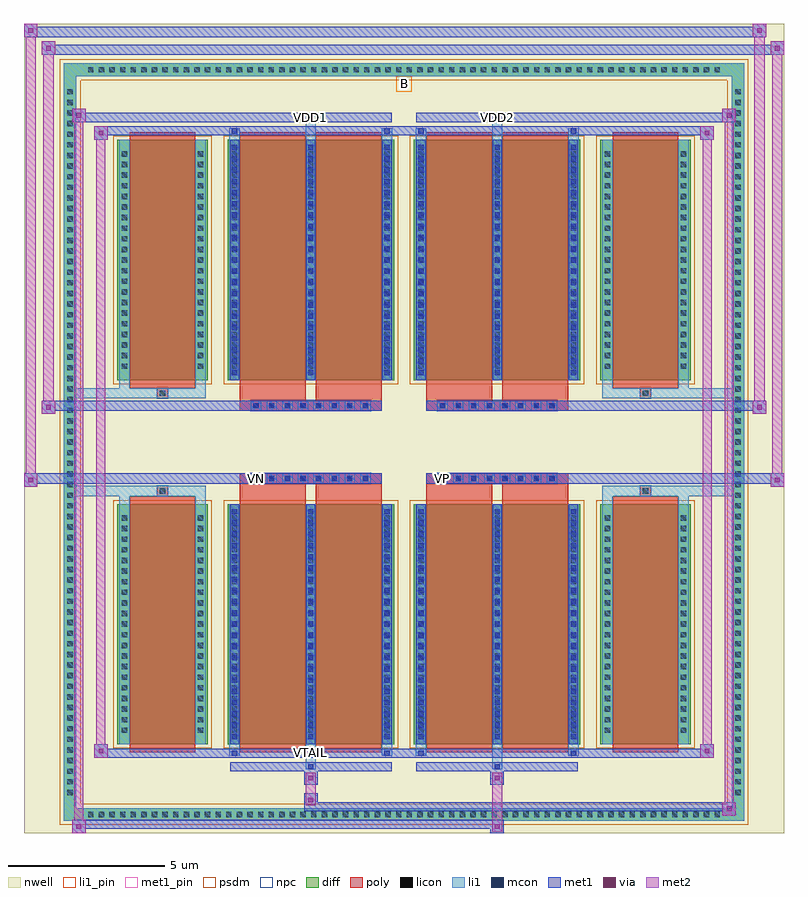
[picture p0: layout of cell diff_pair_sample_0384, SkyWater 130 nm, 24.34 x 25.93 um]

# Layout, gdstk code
import gdstk
lib = gdstk.Library(unit=1e-6, precision=5e-09)
def R(c, l, rs):  # rectangles x0, y0, x1, y1
    for r in rs: c.add(gdstk.rectangle(r[:2], r[2:], *l))
def A(c, l, x, y, w, h, nx, ny, dx, dy):  # array of equal rectangles
    R(c, l, [(x+i*dx, y+j*dy, x+i*dx+w, y+j*dy+h) for i in range(nx) for j in range(ny)])
def P(c, l, *ps):  # polygons
    for p in ps: c.add(gdstk.Polygon(p, *l))
nwell = (64, 20)
diff = (65, 20)
poly = (66, 20)
licon = (66, 44)
li1_pin = (67, 16)
li1 = (67, 20)
mcon = (67, 44)
met1_pin = (68, 16)
met1 = (68, 20)
via = (68, 44)
met2 = (69, 20)
psdm = (94, 20)
npc = (95, 20)

diff_pair_sample_0384 = lib.new_cell('diff_pair_sample_0384')
R(diff_pair_sample_0384, nwell, [(-12.17,-12.53,12.17,13.4), (-9.49,-10.72,-0.01,-0.8), (0.01,-10.72,9.49,-0.8), (-9.49,0.8,-0.01,10.72), (0.01,0.8,9.49,10.72)])
A(diff_pair_sample_0384, diff, -10.235, -12.13, 0.41, 0.41, 60, 2, 0.34, 23.85)
A(diff_pair_sample_0384, diff, -10.9, -11.425, 0.41, 0.41, 1, 67, 0, 0.34)
A(diff_pair_sample_0384, diff, 10.49, -11.425, 0.41, 0.41, 1, 67, 0, 0.34)
R(diff_pair_sample_0384, diff, [(-10.235,-12.13,10.235,-11.72), (-10.9,-11.425,-10.49,11.425), (10.49,-11.425,10.9,11.425), (-9.18,-9.675,-6.29,-1.985), (-5.65,-9.675,-0.32,-1.985), (0.32,-9.675,5.65,-1.985), (6.29,-9.675,9.18,-1.985), (-9.18,1.985,-6.29,9.675), (-5.65,1.985,-0.32,9.675), (0.32,1.985,5.65,9.675), (6.29,1.985,9.18,9.675), (-10.235,11.72,10.235,12.13)])
P(diff_pair_sample_0384, diff, [(10.9,12.13),(-10.9,12.13),(-10.9,-11.72),(-10.49,-11.72),(-10.49,11.72),(10.49,11.72),(10.49,-11.72),(-10.49,-11.72),(-10.9,-11.72),(-10.9,-12.13),(10.9,-12.13)])
A(diff_pair_sample_0384, poly, -4.9, -1.33, 0.33, 0.33, 8, 2, 0.5, 2.33)
A(diff_pair_sample_0384, poly, 1.07, -1.33, 0.33, 0.33, 8, 2, 0.5, 2.33)
R(diff_pair_sample_0384, poly, [(-8.79,-9.93,-6.68,-1.73), (-5.26,-9.93,-3.15,-1.73), (-2.82,-9.93,-0.71,-1.73), (0.71,-9.93,2.82,-1.73), (3.15,-9.93,5.26,-1.73), (6.68,-9.93,8.79,-1.73), (-7.9,-1.73,-7.57,-1.4), (-7.9,-1.73,-7.57,-1.4), (-5.26,-1.73,-3.15,-1.33), (-2.82,-1.73,-0.71,-1.33), (0.71,-1.73,2.82,-1.33), (3.15,-1.73,5.26,-1.33), (7.57,-1.73,7.9,-1.4), (7.57,-1.73,7.9,-1.4), (-5.26,-1.33,-0.71,-1), (0.71,-1.33,5.26,-1), (-5.26,1,-0.71,1.33), (0.71,1,5.26,1.33), (-5.26,1.33,-3.15,1.73), (-2.82,1.33,-0.71,1.73), (0.71,1.33,2.82,1.73), (3.15,1.33,5.26,1.73), (-7.9,1.4,-7.57,1.73), (-7.9,1.4,-7.57,1.73), (7.57,1.4,7.9,1.73), (7.57,1.4,7.9,1.73), (-8.79,1.73,-6.68,9.93), (-5.26,1.73,-3.15,9.93), (-2.82,1.73,-0.71,9.93), (0.71,1.73,2.82,9.93), (3.15,1.73,5.26,9.93), (6.68,1.73,8.79,9.93)])
A(diff_pair_sample_0384, licon, -10.115, -12.01, 0.17, 0.17, 60, 2, 0.34, 23.85)
A(diff_pair_sample_0384, licon, -10.78, -11.305, 0.17, 0.17, 1, 67, 0, 0.34)
A(diff_pair_sample_0384, licon, 10.61, -11.305, 0.17, 0.17, 1, 67, 0, 0.34)
A(diff_pair_sample_0384, licon, -9.04, -9.315, 0.17, 0.17, 1, 21, 0, 0.34)
A(diff_pair_sample_0384, licon, -6.6, -9.315, 0.17, 0.17, 1, 21, 0, 0.34)
A(diff_pair_sample_0384, licon, -5.51, -9.315, 0.17, 0.17, 3, 21, 2.44, 0.34)
A(diff_pair_sample_0384, licon, 0.46, -9.315, 0.17, 0.17, 3, 21, 2.44, 0.34)
A(diff_pair_sample_0384, licon, 6.43, -9.315, 0.17, 0.17, 1, 21, 0, 0.34)
A(diff_pair_sample_0384, licon, 8.87, -9.315, 0.17, 0.17, 1, 21, 0, 0.34)
A(diff_pair_sample_0384, licon, -4.82, -1.25, 0.17, 0.17, 8, 2, 0.5, 2.33)
A(diff_pair_sample_0384, licon, 1.15, -1.25, 0.17, 0.17, 8, 2, 0.5, 2.33)
A(diff_pair_sample_0384, licon, -9.04, 2.345, 0.17, 0.17, 1, 21, 0, 0.34)
A(diff_pair_sample_0384, licon, -6.6, 2.345, 0.17, 0.17, 1, 21, 0, 0.34)
A(diff_pair_sample_0384, licon, -5.51, 2.345, 0.17, 0.17, 3, 21, 2.44, 0.34)
A(diff_pair_sample_0384, licon, 0.46, 2.345, 0.17, 0.17, 3, 21, 2.44, 0.34)
A(diff_pair_sample_0384, licon, 6.43, 2.345, 0.17, 0.17, 1, 21, 0, 0.34)
A(diff_pair_sample_0384, licon, 8.87, 2.345, 0.17, 0.17, 1, 21, 0, 0.34)
R(diff_pair_sample_0384, licon, [(-7.82,-1.65,-7.65,-1.48), (7.65,-1.65,7.82,-1.48), (-7.82,1.48,-7.65,1.65), (7.65,1.48,7.82,1.65)])
R(diff_pair_sample_0384, li1_pin, [(-0.25,11.22,0.25,11.72)])
A(diff_pair_sample_0384, li1, -10.195, -12.09, 0.33, 0.33, 60, 2, 0.34, 23.85)
A(diff_pair_sample_0384, li1, -10.86, -11.385, 0.33, 0.33, 1, 67, 0, 0.34)
A(diff_pair_sample_0384, li1, 10.53, -11.385, 0.33, 0.33, 1, 67, 0, 0.34)
A(diff_pair_sample_0384, li1, -5.59, -9.675, 0.33, 7.69, 3, 2, 2.44, 11.66)
A(diff_pair_sample_0384, li1, 0.38, -9.675, 0.33, 7.69, 3, 2, 2.44, 11.66)
A(diff_pair_sample_0384, li1, -5.51, -9.515, 0.17, 0.17, 3, 21, 2.44, 0.36)
A(diff_pair_sample_0384, li1, -5.51, -9.515, 0.17, 7.37, 3, 2, 2.44, 11.66)
A(diff_pair_sample_0384, li1, 0.46, -9.515, 0.17, 0.17, 3, 21, 2.44, 0.36)
A(diff_pair_sample_0384, li1, 0.46, -9.515, 0.17, 7.37, 3, 2, 2.44, 11.66)
A(diff_pair_sample_0384, li1, -9.12, -9.395, 0.33, 0.33, 1, 21, 0, 0.34)
A(diff_pair_sample_0384, li1, -6.68, -9.395, 0.33, 0.33, 1, 21, 0, 0.34)
A(diff_pair_sample_0384, li1, -5.59, -9.395, 0.33, 0.33, 3, 21, 2.44, 0.34)
A(diff_pair_sample_0384, li1, 0.38, -9.395, 0.33, 0.33, 3, 21, 2.44, 0.34)
A(diff_pair_sample_0384, li1, 6.35, -9.395, 0.33, 0.33, 1, 21, 0, 0.34)
A(diff_pair_sample_0384, li1, 8.79, -9.395, 0.33, 0.33, 1, 21, 0, 0.34)
A(diff_pair_sample_0384, li1, -4.9, -1.33, 0.33, 0.33, 8, 2, 0.5, 2.33)
A(diff_pair_sample_0384, li1, 1.07, -1.33, 0.33, 0.33, 8, 2, 0.5, 2.33)
A(diff_pair_sample_0384, li1, -5.51, 2.145, 0.17, 0.17, 3, 21, 2.44, 0.36)
A(diff_pair_sample_0384, li1, 0.46, 2.145, 0.17, 0.17, 3, 21, 2.44, 0.36)
A(diff_pair_sample_0384, li1, -9.12, 2.265, 0.33, 0.33, 1, 21, 0, 0.34)
A(diff_pair_sample_0384, li1, -6.68, 2.265, 0.33, 0.33, 1, 21, 0, 0.34)
A(diff_pair_sample_0384, li1, -5.59, 2.265, 0.33, 0.33, 3, 21, 2.44, 0.34)
A(diff_pair_sample_0384, li1, 0.38, 2.265, 0.33, 0.33, 3, 21, 2.44, 0.34)
A(diff_pair_sample_0384, li1, 6.35, 2.265, 0.33, 0.33, 1, 21, 0, 0.34)
A(diff_pair_sample_0384, li1, 8.79, 2.265, 0.33, 0.33, 1, 21, 0, 0.34)
R(diff_pair_sample_0384, li1, [(-10.9,-12.13,-10.49,-11.72), (-10.9,-12.13,-10.49,-11.72), (-10.49,-12.13,10.49,-11.72), (10.49,-12.13,10.9,-11.72), (10.49,-12.13,10.9,-11.72), (-10.9,-11.72,-10.49,11.72), (10.49,-11.72,10.9,11.72), (-3.15,-10.48,-2.82,-9.675), (-3.07,-10.48,-2.9,-10.31), (2.82,-10.48,3.15,-9.675), (2.9,-10.48,3.07,-10.31), (-5.59,-10.05,-5.26,-9.675), (-5.51,-10.05,-5.34,-9.88), (-0.71,-10.05,-0.38,-9.675), (-0.63,-10.05,-0.46,-9.88), (0.38,-10.05,0.71,-9.675), (0.46,-10.05,0.63,-9.88), (5.26,-10.05,5.59,-9.675), (5.34,-10.05,5.51,-9.88), (-9.12,-9.675,-8.79,-1.985), (-6.68,-9.675,-6.35,-1.985), (6.35,-9.675,6.68,-1.985), (8.79,-9.675,9.12,-1.985), (-9.12,-1.985,-8.79,-1.4), (-6.68,-1.985,-6.35,-1.4), (6.35,-1.985,6.68,-1.4), (8.79,-1.985,9.12,-1.4), (-10.9,-1.73,-7.9,-1.4), (-9.12,-1.73,-7.9,-1.4), (-7.9,-1.73,-7.57,-1.4), (-7.57,-1.73,-6.35,-1.4), (6.35,-1.73,7.57,-1.4), (7.57,-1.73,7.9,-1.4), (7.57,-1.73,10.9,-1.4), (7.9,-1.73,9.12,-1.4), (-10.9,1.4,-7.9,1.73), (-9.12,1.4,-7.9,1.73), (-9.12,1.4,-8.79,1.985), (-7.9,1.4,-7.57,1.73), (-7.57,1.4,-6.35,1.73), (-6.68,1.4,-6.35,1.985), (6.35,1.4,7.57,1.73), (6.35,1.4,6.68,1.985), (7.57,1.4,7.9,1.73), (7.57,1.4,10.9,1.73), (7.9,1.4,9.12,1.73), (8.79,1.4,9.12,1.985), (-9.12,1.985,-8.79,9.675), (-6.68,1.985,-6.35,9.675), (6.35,1.985,6.68,9.675), (8.79,1.985,9.12,9.675), (-5.59,9.675,-5.26,10.05), (-3.15,9.675,-2.82,10.48), (-0.71,9.675,-0.38,10.05), (0.38,9.675,0.71,10.05), (2.82,9.675,3.15,10.48), (5.26,9.675,5.59,10.05), (-5.51,9.88,-5.34,10.05), (-0.63,9.88,-0.46,10.05), (0.46,9.88,0.63,10.05), (5.34,9.88,5.51,10.05), (-3.07,10.31,-2.9,10.48), (2.9,10.31,3.07,10.48), (-10.9,11.72,-10.49,12.13), (-10.9,11.72,-10.49,12.13), (-10.49,11.72,10.49,12.13), (10.49,11.72,10.9,12.13), (10.49,11.72,10.9,12.13)])
A(diff_pair_sample_0384, mcon, -5.51, -9.515, 0.17, 0.17, 3, 21, 2.44, 0.36)
A(diff_pair_sample_0384, mcon, 0.46, -9.515, 0.17, 0.17, 3, 21, 2.44, 0.36)
A(diff_pair_sample_0384, mcon, -4.82, -1.25, 0.17, 0.17, 8, 2, 0.5, 2.33)
A(diff_pair_sample_0384, mcon, 1.15, -1.25, 0.17, 0.17, 8, 2, 0.5, 2.33)
A(diff_pair_sample_0384, mcon, -5.51, 2.145, 0.17, 0.17, 3, 21, 2.44, 0.36)
A(diff_pair_sample_0384, mcon, 0.46, 2.145, 0.17, 0.17, 3, 21, 2.44, 0.36)
R(diff_pair_sample_0384, mcon, [(-3.07,-10.48,-2.9,-10.31), (2.9,-10.48,3.07,-10.31), (-5.51,-10.05,-5.34,-9.88), (-0.63,-10.05,-0.46,-9.88), (0.46,-10.05,0.63,-9.88), (5.34,-10.05,5.51,-9.88), (-5.51,9.88,-5.34,10.05), (-0.63,9.88,-0.46,10.05), (0.46,9.88,0.63,10.05), (5.34,9.88,5.51,10.05), (-3.07,10.31,-2.9,10.48), (2.9,10.31,3.07,10.48)])
R(diff_pair_sample_0384, met1_pin, [(-3.12,-10.09,-2.85,-9.82), (-4.87,-1.29,-4.6,-1.02), (1.1,-1.29,1.37,-1.02), (-3.12,10.27,-2.85,10.54), (2.85,10.27,3.12,10.54)])
A(diff_pair_sample_0384, met1, -5.57, -9.675, 0.29, 7.69, 3, 2, 2.44, 11.66)
A(diff_pair_sample_0384, met1, 0.4, -9.675, 0.29, 7.69, 3, 2, 2.44, 11.66)
A(diff_pair_sample_0384, met1, -5.57, -9.575, 0.29, 0.29, 3, 21, 2.44, 0.36)
A(diff_pair_sample_0384, met1, 0.4, -9.575, 0.29, 0.29, 3, 21, 2.44, 0.36)
A(diff_pair_sample_0384, met1, -4.88, -1.31, 0.29, 0.29, 8, 2, 0.5, 2.33)
A(diff_pair_sample_0384, met1, 1.09, -1.31, 0.29, 0.29, 8, 2, 0.5, 2.33)
A(diff_pair_sample_0384, met1, -5.57, 2.085, 0.29, 0.29, 3, 21, 2.44, 0.36)
A(diff_pair_sample_0384, met1, 0.4, 2.085, 0.29, 0.29, 3, 21, 2.44, 0.36)
R(diff_pair_sample_0384, met1, [(-10.63,-12.53,-10.2,-12.1), (2.77,-12.53,3.2,-12.1), (-10.63,-12.39,3.2,-12.1), (10.2,-11.96,10.63,-11.53), (-3.2,-11.82,10.63,-11.53), (-3.2,-11.68,-2.77,-11.25), (-3.2,-10.97,-2.77,-10.54), (2.77,-10.97,3.2,-10.54), (-5.57,-10.54,-0.4,-10.25), (-3.13,-10.54,-2.84,-10.25), (0.4,-10.54,5.57,-10.25), (2.84,-10.54,3.13,-10.25), (-9.92,-10.11,-9.49,-9.68), (-9.92,-10.11,-5.57,-9.82), (-5.57,-10.11,-5.28,-9.82), (-5.57,-10.11,-0.4,-9.82), (-0.69,-10.11,-0.4,-9.82), (-0.4,-10.11,0.4,-9.82), (0.4,-10.11,0.69,-9.82), (0.4,-10.11,5.57,-9.82), (5.28,-10.11,5.57,-9.82), (5.57,-10.11,9.92,-9.82), (9.49,-10.11,9.92,-9.68), (-12.17,-1.43,-11.74,-1), (11.74,-1.43,12.17,-1), (-12.17,-1.33,-0.71,-1), (-5.26,-1.33,-0.71,-1), (0.71,-1.33,5.26,-1), (0.71,-1.33,12.17,-1), (-11.6,0.9,-11.17,1.33), (11.17,0.9,11.6,1.33), (-11.6,1,-5.26,1.33), (-5.26,1,-0.71,1.33), (0.71,1,5.26,1.33), (5.26,1,11.6,1.33), (-9.92,9.68,-9.49,10.11), (9.49,9.68,9.92,10.11), (-9.92,9.82,-5.57,10.11), (-5.57,9.82,-5.28,10.11), (-5.57,9.82,-0.4,10.11), (-0.69,9.82,-0.4,10.11), (-0.4,9.82,0.4,10.11), (0.4,9.82,0.69,10.11), (0.4,9.82,5.57,10.11), (5.28,9.82,5.57,10.11), (5.57,9.82,9.92,10.11), (-10.63,10.25,-10.2,10.68), (-10.63,10.25,-5.57,10.54), (-5.57,10.25,-0.4,10.54), (-3.13,10.25,-2.84,10.54), (0.4,10.25,5.57,10.54), (2.84,10.25,3.13,10.54), (5.57,10.25,10.63,10.54), (10.2,10.25,10.63,10.68), (-11.6,12.4,-11.17,12.83), (-11.6,12.4,-9.49,12.73), (-9.49,12.4,9.49,12.73), (9.49,12.4,12.17,12.73), (11.74,12.4,12.17,12.83), (-12.17,12.97,-11.74,13.4), (-12.17,12.97,-9.49,13.3), (-9.49,12.97,9.49,13.3), (9.49,12.97,11.6,13.3), (11.17,12.97,11.6,13.4)])
R(diff_pair_sample_0384, via, [(-10.49,-12.39,-10.34,-12.24), (2.91,-12.39,3.06,-12.24), (10.34,-11.82,10.49,-11.67), (-3.06,-11.54,-2.91,-11.39), (-3.06,-10.83,-2.91,-10.68), (2.91,-10.83,3.06,-10.68), (-9.78,-9.97,-9.63,-9.82), (9.63,-9.97,9.78,-9.82), (-12.03,-1.29,-11.88,-1.14), (11.88,-1.29,12.03,-1.14), (-11.46,1.04,-11.31,1.19), (11.31,1.04,11.46,1.19), (-9.78,9.82,-9.63,9.97), (9.63,9.82,9.78,9.97), (-10.49,10.39,-10.34,10.54), (10.34,10.39,10.49,10.54), (-11.46,12.54,-11.31,12.69), (11.88,12.54,12.03,12.69), (-12.03,13.11,-11.88,13.26), (11.31,13.11,11.46,13.26)])
R(diff_pair_sample_0384, met2, [(-10.63,-12.53,-10.2,-12.1), (-10.56,-12.53,-10.27,10.68), (-10.27,-12.53,-10.2,-12.1), (-10.58,-12.48,-10.25,-12.15), (2.82,-12.48,3.15,-12.15), (2.82,-12.15,3.15,-10.92), (10.2,-11.96,10.63,-11.53), (10.27,-11.96,10.56,10.68), (10.56,-11.96,10.63,-11.53), (10.25,-11.91,10.58,-11.58), (-3.15,-11.63,-2.82,-11.3), (-3.15,-11.3,-2.82,-10.92), (-3.15,-10.92,-2.82,-10.59), (2.82,-10.92,3.15,-10.59), (-9.92,-10.11,-9.49,-9.68), (-9.85,-10.11,-9.56,10.11), (-9.56,-10.11,-9.49,-9.68), (9.49,-10.11,9.92,-9.68), (9.56,-10.11,9.85,10.11), (9.85,-10.11,9.92,-9.68), (-9.87,-10.06,-9.54,-9.73), (9.54,-10.06,9.87,-9.73), (-12.17,-1.43,-11.74,-1), (-12.12,-1.43,-11.79,13.4), (-11.79,-1.43,-11.74,-1), (11.74,-1.43,12.17,-1), (11.79,-1.43,12.12,12.83), (12.12,-1.43,12.17,-1), (-12.12,-1.38,-11.79,-1.05), (11.79,-1.38,12.12,-1.05), (-11.6,0.9,-11.17,1.33), (-11.55,0.9,-11.22,12.83), (-11.22,0.9,-11.17,1.33), (11.17,0.9,11.6,1.33), (11.22,0.9,11.55,13.4), (11.55,0.9,11.6,1.33), (-11.55,0.95,-11.22,1.28), (11.22,0.95,11.55,1.28), (-9.92,9.68,-9.49,10.11), (-9.56,9.68,-9.49,10.11), (9.49,9.68,9.92,10.11), (9.85,9.68,9.92,10.11), (-9.87,9.73,-9.54,10.06), (9.54,9.73,9.87,10.06), (-10.63,10.25,-10.2,10.68), (-10.27,10.25,-10.2,10.68), (10.2,10.25,10.63,10.68), (10.56,10.25,10.63,10.68), (-10.58,10.3,-10.25,10.63), (10.25,10.3,10.58,10.63), (-11.6,12.4,-11.17,12.83), (-11.22,12.4,-11.17,12.83), (11.74,12.4,12.17,12.83), (12.12,12.4,12.17,12.83), (-11.55,12.45,-11.22,12.78), (11.79,12.45,12.12,12.78), (-12.17,12.97,-11.74,13.4), (-11.79,12.97,-11.74,13.4), (11.17,12.97,11.6,13.4), (11.55,12.97,11.6,13.4), (-12.12,13.02,-11.79,13.35), (11.22,13.02,11.55,13.35)])
R(diff_pair_sample_0384, psdm, [(-9.31,-9.805,-6.16,-1.855), (-5.78,-9.805,-0.19,-1.855), (0.19,-9.805,5.78,-1.855), (6.16,-9.805,9.31,-1.855), (-9.31,1.855,-6.16,9.805), (-5.78,1.855,-0.19,9.805), (0.19,1.855,5.78,9.805), (6.16,1.855,9.31,9.805)])
P(diff_pair_sample_0384, psdm, [(11.03,12.26),(-11.03,12.26),(-11.03,-11.59),(-10.36,-11.59),(-10.36,11.59),(10.36,11.59),(10.36,-11.59),(-10.36,-11.59),(-11.03,-11.59),(-11.03,-12.26),(11.03,-12.26)])
A(diff_pair_sample_0384, npc, -4.92, -1.35, 0.37, 0.37, 8, 2, 0.5, 2.33)
A(diff_pair_sample_0384, npc, 1.05, -1.35, 0.37, 0.37, 8, 2, 0.5, 2.33)
R(diff_pair_sample_0384, npc, [(-7.92,-1.75,-7.55,-1.38), (7.55,-1.75,7.92,-1.38), (-4.92,-1.35,-4.05,-0.98), (-4.92,-1.35,-4.05,-0.98), (-4.42,-1.35,-3.55,-0.98), (-4.42,-1.35,-3.55,-0.98), (-3.92,-1.35,-3.05,-0.98), (-3.92,-1.35,-3.05,-0.98), (-3.42,-1.35,-2.55,-0.98), (-3.42,-1.35,-2.55,-0.98), (-2.92,-1.35,-2.05,-0.98), (-2.92,-1.35,-2.05,-0.98), (-2.42,-1.35,-1.55,-0.98), (-2.42,-1.35,-1.55,-0.98), (-1.92,-1.35,-1.05,-0.98), (-1.92,-1.35,-1.05,-0.98), (1.05,-1.35,1.92,-0.98), (1.05,-1.35,1.92,-0.98), (1.55,-1.35,2.42,-0.98), (1.55,-1.35,2.42,-0.98), (2.05,-1.35,2.92,-0.98), (2.05,-1.35,2.92,-0.98), (2.55,-1.35,3.42,-0.98), (2.55,-1.35,3.42,-0.98), (3.05,-1.35,3.92,-0.98), (3.05,-1.35,3.92,-0.98), (3.55,-1.35,4.42,-0.98), (3.55,-1.35,4.42,-0.98), (4.05,-1.35,4.92,-0.98), (4.05,-1.35,4.92,-0.98), (-4.92,0.98,-4.05,1.35), (-4.92,0.98,-4.05,1.35), (-4.42,0.98,-3.55,1.35), (-4.42,0.98,-3.55,1.35), (-3.92,0.98,-3.05,1.35), (-3.92,0.98,-3.05,1.35), (-3.42,0.98,-2.55,1.35), (-3.42,0.98,-2.55,1.35), (-2.92,0.98,-2.05,1.35), (-2.92,0.98,-2.05,1.35), (-2.42,0.98,-1.55,1.35), (-2.42,0.98,-1.55,1.35), (-1.92,0.98,-1.05,1.35), (-1.92,0.98,-1.05,1.35), (1.05,0.98,1.92,1.35), (1.05,0.98,1.92,1.35), (1.55,0.98,2.42,1.35), (1.55,0.98,2.42,1.35), (2.05,0.98,2.92,1.35), (2.05,0.98,2.92,1.35), (2.55,0.98,3.42,1.35), (2.55,0.98,3.42,1.35), (3.05,0.98,3.92,1.35), (3.05,0.98,3.92,1.35), (3.55,0.98,4.42,1.35), (3.55,0.98,4.42,1.35), (4.05,0.98,4.92,1.35), (4.05,0.98,4.92,1.35), (-7.92,1.38,-7.55,1.75), (7.55,1.38,7.92,1.75)])
diff_pair_sample_0384.add(gdstk.Label('VTAIL', (-2.985,-9.955), layer=68, texttype=5))
diff_pair_sample_0384.add(gdstk.Label('VN', (-4.735,-1.155), layer=68, texttype=5))
diff_pair_sample_0384.add(gdstk.Label('VP', (1.235,-1.155), layer=68, texttype=5))
diff_pair_sample_0384.add(gdstk.Label('B', (0,11.47), layer=67, texttype=5))
diff_pair_sample_0384.add(gdstk.Label('VDD2', (2.985,10.405), layer=68, texttype=5))
diff_pair_sample_0384.add(gdstk.Label('VDD1', (-2.985,10.405), layer=68, texttype=5))

lib.write_gds('diff_pair_sample_0384.gds')
